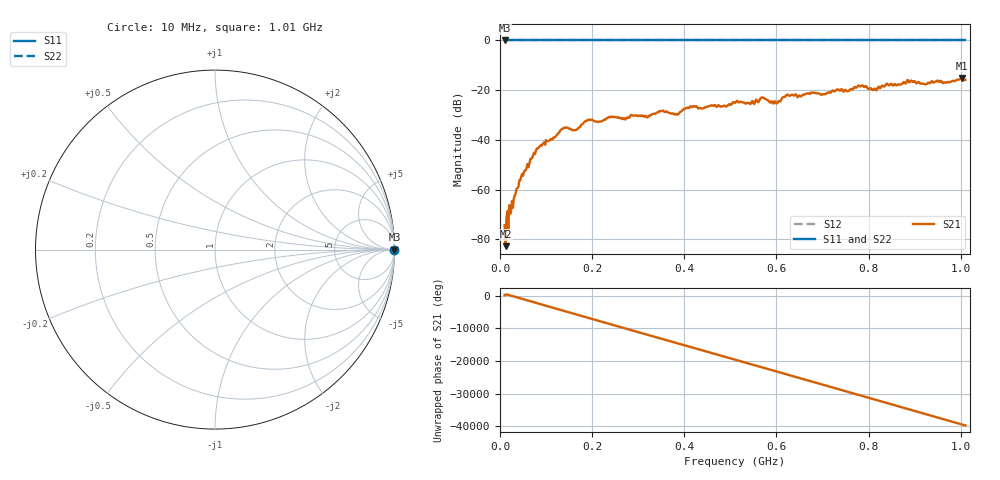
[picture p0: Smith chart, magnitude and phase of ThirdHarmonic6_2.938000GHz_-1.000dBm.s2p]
! 8/17/2025 8:13:36 AM
! C:\ANRITSUVNA\TEMP\TEMP.S2P
! CHANNEL.1
! TR.MEASUREMENT
! RAW.DATA
! RF.CORRECTION.OFF
! AVERAGING.OFF
! IF.BANDWIDTH: 5KHZ
! SWEEPTYPE:  FREQ.SWEEP(Linear)
! Reference Plane Port Info
! PORT:  PORT1  PORT2
! DISTANCE:  0  m  0  m
! TIME:  0  s  0  s
! PHASE.OFFSET:  0  deg.  0  deg.
! LOSS:  0  dB  0  dB
! REF.LOSS:  0  dB  0  dB
! REF.FREQ:  0  Hz  0  Hz
! Power Info
! POWER:  -20  dBm  -20  dBm
! EFF.POWER:  -20  dBm  -20  dBm
! SOURCE.ATTEN:  0  dB  0  dB
! TEST.ATTEN:  0  dB  0  dB
# GHZ S RI R 50.0
! FREQ.GHZ  S11RE  S11IM  S21RE  S21IM  S12RE  S12IM  S22RE  S22IM
!; PortSelection: Port_12
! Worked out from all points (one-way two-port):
!   501 points, 10 MHz to 1.01 GHz, reference 50 ohm
!   highest |S21| = -15.05 dB at 1.002 GHz (marker M1); lowest = -82.7 dB at 12 MHz (marker M2)
!   lowest |S11| = 0.0 dB at 10 MHz (marker M3)
!   |S11| at or under -10 dB: nowhere
!   |S22| runs from 0.0 to 0.0 dB; largest |S21 - S12| = 1.2
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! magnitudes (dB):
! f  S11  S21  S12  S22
! 10 MHz  0.0  -74.3  0.0  0.0
! 12 MHz  0.0  -82.7  0.0  0.0
! 46 MHz  0.0  -54.7  0.0  0.0
! 82 MHz  0.0  -43.4  0.0  0.0
! 136 MHz  0.0  -35.6  0.0  0.0
! 162 MHz  0.0  -36.0  0.0  0.0
! 178 MHz  0.0  -33.7  0.0  0.0
! 194 MHz  0.0  -31.8  0.0  0.0
! 344 MHz  0.0  -28.9  0.0  0.0
! 382 MHz  0.0  -29.6  0.0  0.0
! 416 MHz  0.0  -26.8  0.0  0.0
! 510 MHz  0.0  -25.1  0.0  0.0
! 548 MHz  0.0  -24.3  0.0  0.0
! 570 MHz  0.0  -22.9  0.0  0.0
! 596 MHz  0.0  -24.4  0.0  0.0
! 624 MHz  0.0  -21.7  0.0  0.0
! 678 MHz  0.0  -21.0  0.0  0.0
! 782 MHz  0.0  -18.5  0.0  0.0
! 814 MHz  0.0  -19.4  0.0  0.0
! 844 MHz  0.0  -18.1  0.0  0.0
! 1.002 GHz  0.0  -15.0  0.0  0.0
! 1.01 GHz  0.0  -15.8  0.0  0.0
